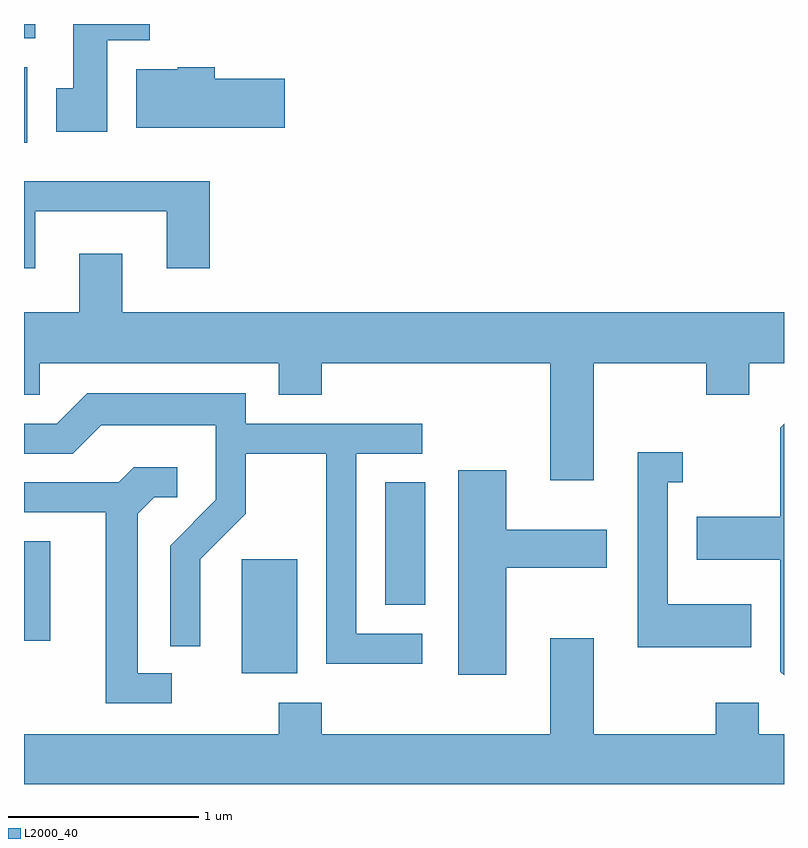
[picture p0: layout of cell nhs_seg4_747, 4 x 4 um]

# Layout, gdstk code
import gdstk
lib = gdstk.Library(unit=1e-6, precision=1e-09)
def R(c, l, rs):  # rectangles x0, y0, x1, y1
    for r in rs: c.add(gdstk.rectangle(r[:2], r[2:], *l))
def P(c, l, *ps):  # polygons
    for p in ps: c.add(gdstk.Polygon(p, *l))
L2000_40 = (2000, 40)

nhs_seg4_747 = lib.new_cell('nhs_seg4_747')
R(nhs_seg4_747, L2000_40, [(206.756,1388.566,207.049,1389.164), (205.611,1388.736,205.749,1389.259), (207.511,1388.926,207.724,1389.569), (205.611,1391.356,205.629,1391.754), (205.611,1391.906,205.669,1391.982)])
P(nhs_seg4_747, L2000_40, [(206.049,1391.896),(206.274,1391.896),(206.274,1391.982),(205.871,1391.982),(205.871,1391.644),(205.781,1391.644),(205.781,1391.416),(206.049,1391.416)],
  [(206.984,1391.694),(206.614,1391.694),(206.614,1391.754),(206.42,1391.754),(206.42,1391.744),(206.201,1391.744),(206.201,1391.436),(206.984,1391.436)],
  [(205.669,1390.996),(206.361,1390.996),(206.361,1390.696),(206.589,1390.696),(206.589,1391.154),(205.611,1391.154),(205.611,1390.696),(205.669,1390.696)],
  [(205.611,1390.031),(205.694,1390.031),(205.694,1390.196),(206.951,1390.196),(206.951,1390.031),(207.179,1390.031),(207.179,1390.196),(208.381,1390.196),(208.381,1389.581),(208.609,1389.581),(208.609,1390.196),(209.201,1390.196),(209.201,1390.031),(209.429,1390.031),(209.429,1390.196),(209.611,1390.196),(209.611,1390.464),(206.129,1390.464),(206.129,1390.774),(205.901,1390.774),(205.901,1390.464),(205.611,1390.464)],
  [(207.708,1388.774),(207.359,1388.774),(207.359,1389.721),(207.708,1389.721),(207.708,1389.879),(206.779,1389.879),(206.779,1390.039),(205.944,1390.039),(205.784,1389.879),(205.611,1389.879),(205.611,1389.721),(205.867,1389.721),(206.017,1389.871),(206.621,1389.871),(206.621,1389.477),(206.381,1389.237),(206.381,1388.708),(206.539,1388.708),(206.539,1389.164),(206.779,1389.404),(206.779,1389.721),(207.201,1389.721),(207.201,1388.616),(207.708,1388.616)],
  [(209.611,1389.877),(209.591,1389.857),(209.591,1389.389),(209.151,1389.389),(209.151,1389.161),(209.591,1389.161),(209.591,1388.574),(209.611,1388.554)],
  [(209.439,1388.929),(208.999,1388.929),(208.999,1389.571),(209.078,1389.571),(209.078,1389.729),(208.841,1389.729),(208.841,1388.701),(209.439,1388.701)],
  [(206.388,1388.564),(206.209,1388.564),(206.209,1389.404),(206.297,1389.491),(206.418,1389.491),(206.418,1389.649),(206.189,1389.649),(206.109,1389.569),(205.611,1389.569),(205.611,1389.411),(206.041,1389.411),(206.041,1388.406),(206.388,1388.406)],
  [(208.149,1389.121),(208.679,1389.121),(208.679,1389.319),(208.149,1389.319),(208.149,1389.634),(207.896,1389.634),(207.896,1388.556),(208.149,1388.556)],
  [(209.611,1388.244),(209.479,1388.244),(209.479,1388.409),(209.251,1388.409),(209.251,1388.244),(208.609,1388.244),(208.609,1388.749),(208.381,1388.749),(208.381,1388.244),(207.179,1388.244),(207.179,1388.409),(206.951,1388.409),(206.951,1388.244),(205.611,1388.244),(205.611,1387.982),(209.611,1387.982)])

lib.write_gds('nhs_seg4_747.gds')
